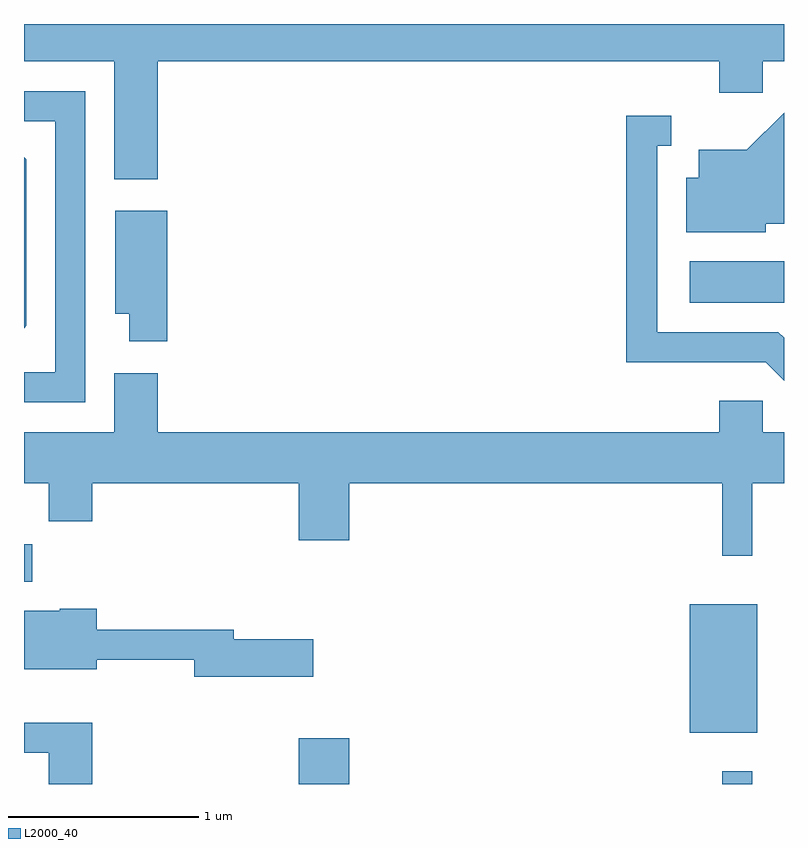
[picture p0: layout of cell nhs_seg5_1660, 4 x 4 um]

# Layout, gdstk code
import gdstk
lib = gdstk.Library(unit=1e-6, precision=1e-09)
def R(c, l, rs):  # rectangles x0, y0, x1, y1
    for r in rs: c.add(gdstk.rectangle(r[:2], r[2:], *l))
def P(c, l, *ps):  # polygons
    for p in ps: c.add(gdstk.Polygon(p, *l))
L2000_40 = (2000, 40)

nhs_seg5_1660 = lib.new_cell('nhs_seg5_1660')
R(nhs_seg5_1660, L2000_40, [(235.056,1484.072,235.324,1484.314), (237.286,1484.072,237.444,1484.138), (237.116,1484.341,237.469,1485.019), (233.611,1485.136,233.654,1485.334), (237.116,1486.606,237.611,1486.824)])
P(nhs_seg5_1660, L2000_40, [(234.314,1487.876),(237.271,1487.876),(237.271,1487.711),(237.499,1487.711),(237.499,1487.876),(237.611,1487.876),(237.611,1488.072),(233.611,1488.072),(233.611,1487.876),(234.086,1487.876),(234.086,1487.256),(234.314,1487.256)],
  [(233.934,1487.719),(233.613,1487.719),(233.613,1487.561),(233.776,1487.561),(233.776,1486.239),(233.613,1486.239),(233.613,1486.081),(233.934,1486.081)],
  [(237.514,1487.021),(237.611,1487.021),(237.611,1487.606),(237.414,1487.409),(237.161,1487.409),(237.161,1487.264),(237.096,1487.264),(237.096,1486.976),(237.514,1486.976)],
  [(237.611,1486.42),(237.582,1486.449),(236.944,1486.449),(236.944,1487.431),(237.018,1487.431),(237.018,1487.589),(236.781,1487.589),(236.781,1486.291),(237.514,1486.291),(237.611,1486.194)],
  [(233.624,1486.484),(233.624,1487.359),(233.611,1487.372),(233.611,1486.471)],
  [(234.364,1487.089),(234.091,1487.089),(234.091,1486.546),(234.166,1486.546),(234.166,1486.401),(234.364,1486.401)],
  [(237.444,1485.656),(237.611,1485.656),(237.611,1485.924),(237.499,1485.924),(237.499,1486.089),(237.271,1486.089),(237.271,1485.924),(234.314,1485.924),(234.314,1486.234),(234.086,1486.234),(234.086,1485.924),(233.611,1485.924),(233.611,1485.656),(233.741,1485.656),(233.741,1485.456),(233.969,1485.456),(233.969,1485.656),(235.056,1485.656),(235.056,1485.356),(235.324,1485.356),(235.324,1485.656),(237.286,1485.656),(237.286,1485.273),(237.444,1485.273)],
  [(235.134,1484.834),(234.714,1484.834),(234.714,1484.884),(233.994,1484.884),(233.994,1484.994),(233.8,1484.994),(233.8,1484.984),(233.611,1484.984),(233.611,1484.676),(233.994,1484.676),(233.994,1484.726),(234.506,1484.726),(234.506,1484.636),(235.134,1484.636)],
  [(233.969,1484.394),(233.611,1484.394),(233.611,1484.236),(233.741,1484.236),(233.741,1484.072),(233.969,1484.072)])

lib.write_gds('nhs_seg5_1660.gds')
